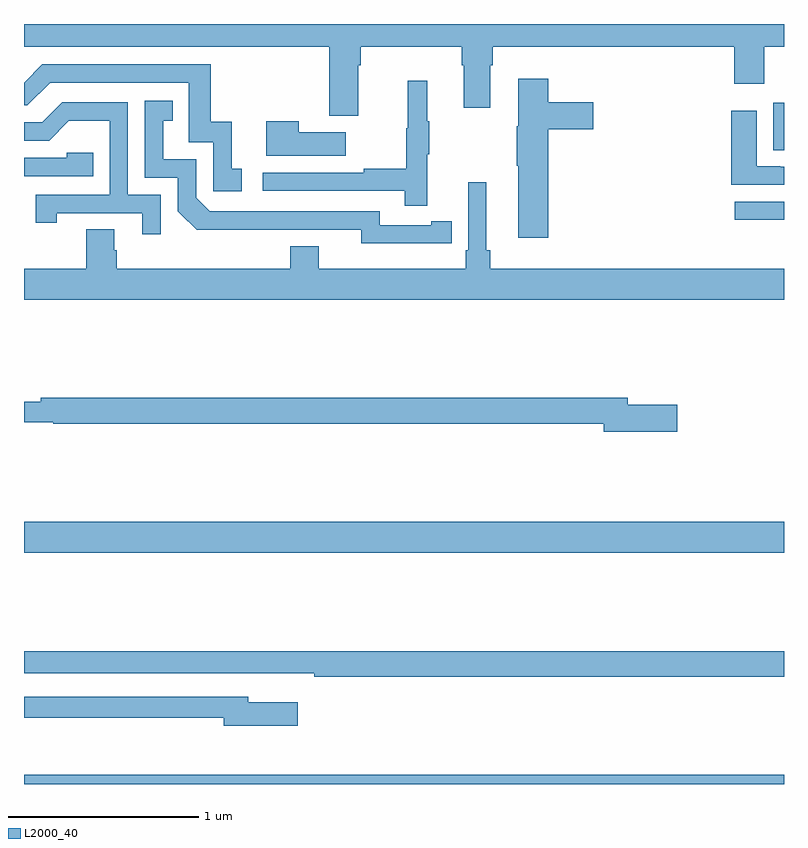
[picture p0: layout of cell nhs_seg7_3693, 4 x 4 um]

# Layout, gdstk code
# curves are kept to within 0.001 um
import gdstk
lib = gdstk.Library(unit=1e-6, precision=1e-09)
def R(c, l, rs):  # rectangles x0, y0, x1, y1
    for r in rs: c.add(gdstk.rectangle(r[:2], r[2:], *l))
def P(c, l, *ps):  # polygons
    for p in ps: c.add(gdstk.Polygon(p, *l))
L2000_40 = (2000, 40)

nhs_seg7_3693 = lib.new_cell('nhs_seg7_3693')
R(nhs_seg7_3693, L2000_40, [(345,1066,349,1066.048), (345,1067.216,349,1067.38), (348.741,1068.969,349,1069.065), (348.944,1069.336,349,1069.586)])
P(nhs_seg7_3693, L2000_40, [(346.759,1069.784),(346.772,1069.784),(346.772,1069.88),(347.303,1069.88),(347.303,1069.784),(347.315,1069.784),(347.315,1069.56),(347.455,1069.56),(347.455,1069.784),(347.468,1069.784),(347.468,1069.88),(348.737,1069.88),(348.737,1069.686),(348.897,1069.686),(348.897,1069.88),(349,1069.88),(349,1070),(345,1070),(345,1069.88),(346.607,1069.88),(346.607,1069.518),(346.759,1069.518)],
  [(346.147,1069.239),(346.094,1069.239),(346.094,1069.486),(345.983,1069.486),(345.983,1069.788),(345.096,1069.788),(345,1069.692),(345,1069.572),(345.018,1069.572),(345.138,1069.692),(345.867,1069.692),(345.867,1069.377),(345.996,1069.377),(345.996,1069.119),(346.147,1069.119)],
  [(347.759,1069.445),(347.995,1069.445),(347.995,1069.587),(347.759,1069.587),(347.759,1069.711),(347.6,1069.711),(347.6,1069.461),(347.593,1069.461),(347.593,1069.255),(347.6,1069.255),(347.6,1068.876),(347.759,1068.876)],
  [(347.123,1069.315),(347.134,1069.315),(347.134,1069.489),(347.123,1069.489),(347.123,1069.702),(347.02,1069.702),(347.02,1069.452),(347.013,1069.452),(347.013,1069.238),(346.789,1069.238),(346.789,1069.218),(346.257,1069.218),(346.257,1069.122),(347.005,1069.122),(347.005,1069.044),(347.123,1069.044)],
  [(347.144,1068.846),(347.252,1068.846),(347.252,1068.962),(347.144,1068.962),(347.144,1068.942),(346.872,1068.942),(346.872,1069.014),(345.978,1069.014),(345.906,1069.086),(345.906,1069.287),(345.733,1069.287),(345.733,1069.491),(345.782,1069.491),(345.782,1069.597),(345.636,1069.597),(345.636,1069.191),(345.81,1069.191),(345.81,1069.014),(345.908,1068.917),(346.776,1068.918),(346.776,1068.845)],
  [(345.172,1068.954),(345.172,1069.005),(345.623,1069.005),(345.623,1068.894),(345.72,1068.894),(345.72,1069.101),(345.546,1069.101),(345.546,1069.587),(345.2,1069.587),(345.095,1069.482),(345,1069.482),(345,1069.386),(345.132,1069.386),(345.236,1069.49),(345.45,1069.49),(345.45,1069.101),(345.061,1069.101),(345.061,1068.954)],
  [(349,1069.248),(348.98,1069.248),(348.98,1069.251),(348.856,1069.251),(348.856,1069.543),(348.722,1069.543),(348.722,1069.155),(349,1069.155)],
  [(346.693,1069.429),(346.445,1069.429),(346.445,1069.489),(346.274,1069.489),(346.274,1069.307),(346.693,1069.307)],
  [(345.365,1069.323),(345.225,1069.323),(345.225,1069.296),(345,1069.296),(345,1069.2),(345.365,1069.2)],
  [(349,1068.712),(347.453,1068.712),(347.453,1068.808),(347.434,1068.808),(347.434,1069.168),(347.337,1069.168),(347.337,1068.808),(347.324,1068.808),(347.324,1068.712),(346.552,1068.712),(346.552,1068.829),(346.4,1068.829),(346.4,1068.712),(345.488,1068.712),(345.488,1068.81),(345.475,1068.81),(345.475,1068.92),(345.328,1068.92),(345.328,1068.712),(345,1068.712),(345,1068.548),(349,1068.548)],
  [(348.439,1067.996),(348.178,1067.996),(348.178,1068.032),(345.088,1068.032),(345.088,1068.013),(345,1068.013),(345,1067.904),(345.154,1067.904),(345.154,1067.896),(348.05,1067.896),(348.05,1067.854),(348.439,1067.854)],
  [(349,1066.7),(345,1066.7),(345,1066.584),(346.276,1066.584),(346.276,1066.583),(346.528,1066.583),(346.528,1066.564),(349,1066.564)],
  [(346.441,1066.429),(346.18,1066.429),(346.18,1066.458),(345,1066.458),(345,1066.35),(346.052,1066.35),(346.052,1066.307),(346.441,1066.307)])

lib.write_gds('nhs_seg7_3693.gds')
